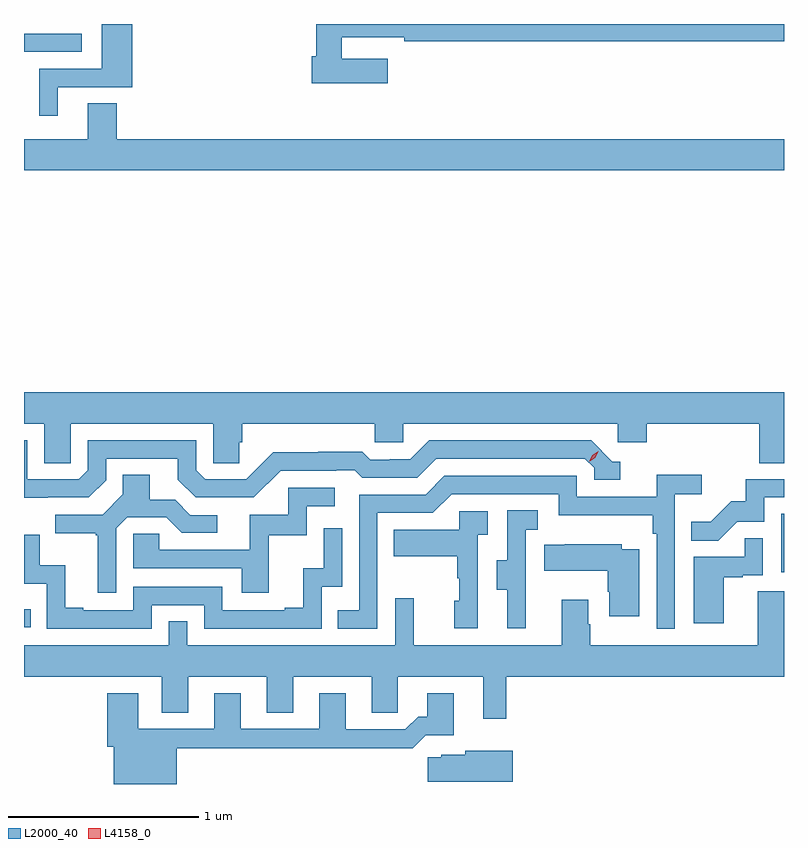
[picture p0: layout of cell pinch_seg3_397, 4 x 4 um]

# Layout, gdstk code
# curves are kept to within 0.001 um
import gdstk
lib = gdstk.Library(unit=1e-6, precision=1e-09)
def R(c, l, rs):  # rectangles x0, y0, x1, y1
    for r in rs: c.add(gdstk.rectangle(r[:2], r[2:], *l))
def P(c, l, *ps):  # polygons
    for p in ps: c.add(gdstk.Polygon(p, *l))
L2000_40 = (2000, 40)
L4158_0 = (4158, 0)

pinch_seg3_397 = lib.new_cell('pinch_seg3_397')
R(pinch_seg3_397, L2000_40, [(923.058,697.179,923.093,697.276), (927.044,697.47,927.058,697.777), (923.058,700.209,923.362,700.305)])
P(pinch_seg3_397, L2000_40, [(924.973,700.171),(924.731,700.171),(924.731,700.284),(925.06,700.284),(925.06,700.264),(927.058,700.264),(927.058,700.355),(924.595,700.355),(924.595,700.184),(924.572,700.184),(924.572,700.042),(924.973,700.042)],
  [(923.236,700.023),(923.627,700.023),(923.627,700.355),(923.468,700.355),(923.468,700.119),(923.138,700.119),(923.138,699.873),(923.236,699.873)],
  [(927.058,699.748),(923.546,699.748),(923.546,699.938),(923.393,699.938),(923.393,699.748),(923.058,699.748),(923.058,699.584),(927.058,699.584)],
  [(923.304,698.252),(924.054,698.252),(924.054,698.044),(924.191,698.044),(924.191,698.154),(924.206,698.154),(924.206,698.252),(924.903,698.252),(924.903,698.154),(925.053,698.154),(925.053,698.252),(926.184,698.252),(926.184,698.154),(926.336,698.154),(926.336,698.252),(926.927,698.252),(926.927,698.044),(927.058,698.044),(927.058,698.416),(923.058,698.416),(923.058,698.252),(923.165,698.252),(923.165,698.044),(923.304,698.044)],
  [(923.184,697.863),(923.4,697.863),(923.49,697.953),(923.49,698.067),(923.867,698.067),(923.867,697.957),(923.961,697.863),(924.267,697.863),(924.408,698.004),(924.701,698.004),(924.701,698.007),(924.8,698.007),(924.839,697.968),(925.128,697.968),(925.227,698.067),(926.01,698.067),(926.058,698.019),(926.058,697.956),(926.197,697.956),(926.197,698.052),(926.154,698.052),(926.043,698.163),(925.19,698.163),(925.091,698.064),(924.984,698.064),(924.984,698.061),(924.881,698.061),(924.839,698.104),(924.606,698.104),(924.606,698.101),(924.37,698.101),(924.228,697.959),(924.012,697.959),(923.964,698.007),(923.964,698.163),(923.394,698.163),(923.394,698.007),(923.346,697.959),(923.076,697.959),(923.076,698.163),(923.058,698.163),(923.058,697.862)],
  [(923.544,697.701),(923.601,697.758),(923.807,697.758),(923.888,697.677),(924.076,697.677),(924.076,697.77),(923.934,697.77),(923.854,697.85),(923.719,697.85),(923.719,697.982),(923.579,697.982),(923.579,697.88),(923.472,697.773),(923.223,697.773),(923.223,697.676),(923.436,697.676),(923.436,697.665),(923.447,697.665),(923.447,697.362),(923.544,697.362)],
  [(924.918,697.782),(925.209,697.782),(925.308,697.881),(925.872,697.881),(925.872,697.769),(926.368,697.769),(926.368,697.673),(926.388,697.673),(926.388,697.173),(926.484,697.173),(926.484,697.88),(926.626,697.88),(926.626,697.982),(926.387,697.982),(926.387,697.866),(925.968,697.866),(925.968,697.977),(925.271,697.977),(925.172,697.878),(924.822,697.878),(924.822,697.269),(924.709,697.269),(924.709,697.173),(924.918,697.173)],
  [(926.811,697.734),(926.955,697.734),(926.955,697.863),(927.058,697.863),(927.058,697.959),(926.857,697.959),(926.857,697.842),(926.78,697.842),(926.673,697.735),(926.569,697.735),(926.569,697.636),(926.713,697.636)],
  [(924.347,697.665),(924.546,697.665),(924.546,697.818),(924.694,697.818),(924.694,697.914),(924.45,697.914),(924.45,697.773),(924.245,697.773),(924.245,697.587),(923.771,697.587),(923.771,697.671),(923.634,697.671),(923.634,697.491),(924.203,697.491),(924.203,697.362),(924.347,697.362)],
  [(925.7,697.389),(925.698,697.389),(925.698,697.693),(925.762,697.693),(925.762,697.796),(925.602,697.796),(925.602,697.533),(925.547,697.533),(925.547,697.378),(925.601,697.378),(925.601,697.176),(925.7,697.176)],
  [(925.446,697.667),(925.498,697.667),(925.498,697.791),(925.35,697.791),(925.35,697.693),(925.003,697.693),(925.003,697.553),(925.338,697.553),(925.338,697.439),(925.348,697.439),(925.348,697.32),(925.322,697.32),(925.322,697.176),(925.446,697.176)],
  [(923.73,697.296),(924.006,697.296),(924.006,697.173),(924.624,697.173),(924.624,697.392),(924.732,697.392),(924.732,697.702),(924.636,697.702),(924.636,697.49),(924.527,697.49),(924.527,697.282),(924.431,697.282),(924.431,697.269),(924.102,697.269),(924.102,697.392),(923.634,697.392),(923.634,697.269),(923.371,697.269),(923.371,697.282),(923.275,697.282),(923.275,697.507),(923.142,697.507),(923.142,697.668),(923.058,697.668),(923.058,697.409),(923.178,697.409),(923.178,697.173),(923.73,697.173)],
  [(926.74,697.443),(926.84,697.443),(926.84,697.455),(926.946,697.455),(926.946,697.649),(926.851,697.649),(926.851,697.551),(926.582,697.551),(926.582,697.2),(926.74,697.2)],
  [(926.296,697.591),(926.205,697.591),(926.205,697.618),(925.903,697.618),(925.903,697.615),(925.795,697.615),(925.795,697.478),(926.131,697.478),(926.131,697.367),(926.138,697.367),(926.138,697.239),(926.296,697.239)],
  [(925.597,696.92),(927.058,696.92),(927.058,697.37),(926.921,697.37),(926.921,697.084),(926.037,697.084),(926.037,697.196),(926.029,697.196),(926.029,697.324),(925.889,697.324),(925.889,697.084),(925.109,697.084),(925.109,697.333),(925.011,697.333),(925.011,697.084),(923.916,697.084),(923.916,697.211),(923.82,697.211),(923.82,697.084),(923.058,697.084),(923.058,696.92),(923.783,696.92),(923.783,696.73),(923.923,696.73),(923.923,696.92),(924.335,696.92),(924.335,696.73),(924.475,696.73),(924.475,696.92),(924.887,696.92),(924.887,696.73),(925.026,696.73),(925.026,696.92),(925.475,696.92),(925.475,696.699),(925.597,696.699)],
  [(923.863,696.544),(924.847,696.544),(924.847,696.542),(925.103,696.542),(925.173,696.612),(925.321,696.612),(925.321,696.832),(925.181,696.832),(925.181,696.709),(925.132,696.709),(925.065,696.642),(924.751,696.642),(924.751,696.832),(924.611,696.832),(924.611,696.645),(924.199,696.645),(924.199,696.832),(924.059,696.832),(924.059,696.645),(923.659,696.645),(923.659,696.832),(923.495,696.832),(923.495,696.552),(923.531,696.552),(923.531,696.355),(923.863,696.355)],
  [(925.63,696.529),(925.38,696.529),(925.38,696.508),(925.254,696.508),(925.254,696.497),(925.182,696.497),(925.182,696.368),(925.63,696.368)])
P(pinch_seg3_397, L4158_0, [(926.034,698.053),(926.034,698.053),(926.05,698.086),(926.08,698.106),(926.08,698.106),(926.08,698.105),(926.065,698.073),(926.035,698.053)])

lib.write_gds('pinch_seg3_397.gds')
